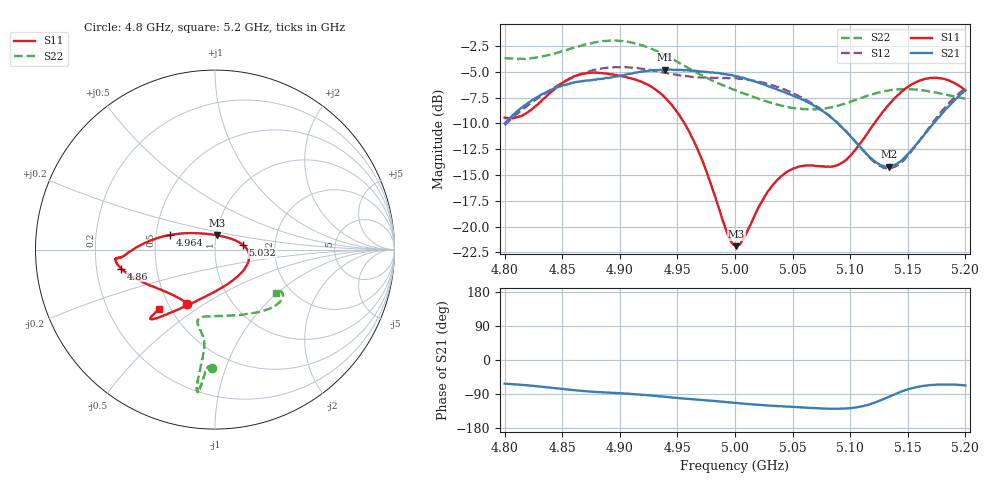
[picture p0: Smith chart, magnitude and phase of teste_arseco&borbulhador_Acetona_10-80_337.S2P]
! Network Analyzer HP8722D
! Hewlett-Packard
! Data name: Linha & Wilkinson
! Saver's name: Rodrigo Anjos
! Comments: Teste da utilização de aquisição
! continua pelo VNA HP8722D
! Time and date: 17/4/2025 17:10
!  Frequency  S11  S21  S12  S22
# HZ  S  MA R 50
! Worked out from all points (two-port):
!   401 points, 4.8 GHz to 5.2 GHz, reference 50 ohm
!   highest |S21| = -4.77 dB at 4.939 GHz (marker M1); lowest = -14.2 dB at 5.134 GHz (marker M2)
!   |S21| within 3 dB of the highest: 4.823 GHz to 5.06 GHz (236.8 MHz wide, 4.79 % of centre); 5.190472 GHz to end of sweep
!   lowest |S11| = -21.9 dB at 5.001 GHz (marker M3), VSWR 1.17, Z = 50.7 + j8.09 ohm
!   |S11| at or under -10 dB: 4.956 GHz to 5.121 GHz (164.7 MHz wide, 3.27 % of centre)
!   |S22| runs from -8.7 to -1.9 dB; largest |S21 - S12| = 0.87
!   S11 on the Smith chart (normalised r, x): 4.8 GHz: 0.62, -0.42; 4.86 GHz: 0.31, -0.09; 4.964 GHz: 0.60, +0.10; 5.032 GHz: 1.36, +0.07; 5.2 GHz: 0.43, -0.36
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4.8e9  0.3374 -117.1  0.3162 -62.4  0.31 -176.6  0.6579 -91.4
4.818e9  0.3523 -136.3  0.3892 -66.3  0.3784 -176.3  0.6513 -93.0
4.86e9  0.5346 -168.6  0.5003 -79.4  0.5313 -179.8  0.7366 -95.5
4.867e9  0.5492 -171.4  0.5063 -81.5  0.5524 179.0  0.7556 -95.7
4.9e9  0.5395 -175.1  0.539 -87.7  0.5921 173.1  0.7945 -97.2
4.934e9  0.4491 179.2  0.5732 -95.8  0.5638 170.0  0.7002 -97.4
4.939e9  0.4235 177.2  0.5776 -97.0  0.5591 170.0  0.6797 -97.0
4.964e9  0.2616 161.8  0.5688 -103.8  0.5308 171.8  0.5678 -96.2
4.975e9  0.1869 150.8  0.5634 -106.4  0.5274 172.9  0.5279 -96.6
4.993e9  0.09369 112.2  0.5471 -111.1  0.5262 174.0  0.4763 -98.7
5e9  0.0812 84.3  0.5371 -113.3  0.524 174.2  0.4584 -100.0
5.001e9  0.08036 80.3  0.5359 -113.1  0.524 174.1  0.4573 -100.3
5.007e9  0.08639 56.6  0.5264 -114.9  0.5194 174.0  0.4435 -101.5
5.032e9  0.1569 9.8  0.4714 -120.7  0.4859 173.0  0.3969 -103.3
5.048e9  0.1885 -5.1  0.4371 -123.3  0.4498 172.2  0.3775 -98.9
5.067e9  0.198 -25.4  0.3913 -126.6  0.3953 172.1  0.3703 -88.2
5.096e9  0.21 -75.6  0.2906 -127.9  0.2912 174.9  0.396 -65.8
5.121e9  0.3165 -112.0  0.2077 -112.9  0.2053 -167.9  0.4413 -49.5
5.134e9  0.393 -121.7  0.195 -96.4  0.1916 -149.5  0.4584 -43.3
5.146e9  0.4571 -127.2  0.2131 -81.7  0.2082 -132.2  0.4643 -38.9
5.168e9  0.5237 -132.3  0.2959 -66.8  0.3 -113.2  0.4521 -33.5
5.2e9  0.4568 -133.3  0.4582 -67.0  0.4698 -109.2  0.4168 -35.0
